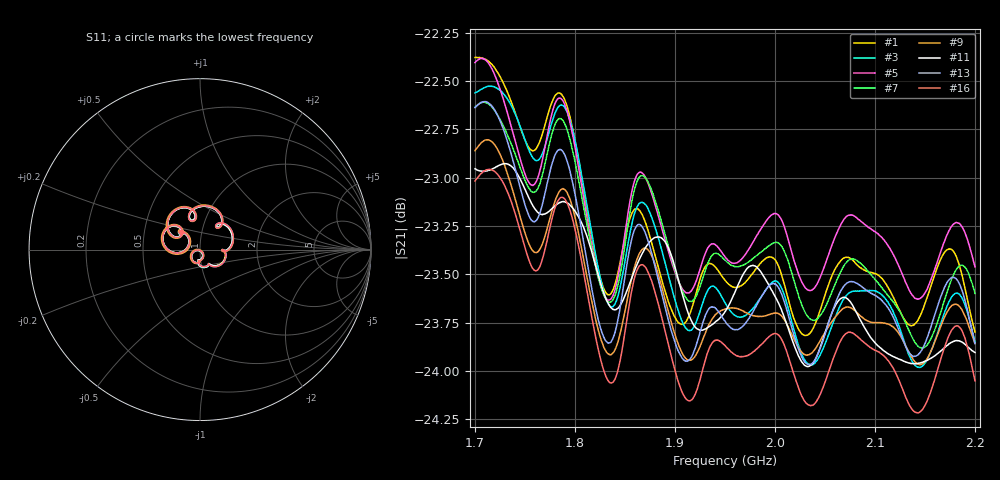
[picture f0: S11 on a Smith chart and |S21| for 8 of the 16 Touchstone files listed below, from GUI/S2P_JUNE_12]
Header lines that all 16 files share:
# Hz S RI R 50
! CMT, CMT808U, 21440046, 21.4.3/4
! Data: Format (Calibration Info)
! Freq	S11:Re/Im(F2)	S41:Re/Im(F2)	S14:Re/Im(F2)	S44:Re/Im(F2)
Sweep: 1.7 GHz to 2.2 GHz
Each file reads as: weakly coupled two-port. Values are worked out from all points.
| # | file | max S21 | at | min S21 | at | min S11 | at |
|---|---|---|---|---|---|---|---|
| 1 | Port1.s2p | -22.38 dB | 1.701 GHz | -23.8 dB | 2.031 GHz | -41.6 dB | 2.178 GHz |
| 2 | Port2.s2p | -22.26 dB | 1.7 GHz | -23.8 dB | 2.142 GHz | -42.3 dB | 2.179 GHz |
| 3 | Port3.s2p | -22.53 dB | 1.715 GHz | -24.0 dB | 2.144 GHz | -43.3 dB | 2.179 GHz |
| 4 | Port4.s2p | -22.52 dB | 1.71 GHz | -23.9 dB | 2.142 GHz | -42.3 dB | 2.179 GHz |
| 5 | Port5.s2p | -22.38 dB | 1.707 GHz | -23.6 dB | 1.833 GHz | -41.9 dB | 2.178 GHz |
| 6 | Port6.s2p | -22.35 dB | 1.708 GHz | -23.7 dB | 2.146 GHz | -42.0 dB | 2.178 GHz |
| 7 | Port7.s2p | -22.61 dB | 1.708 GHz | -23.9 dB | 2.147 GHz | -42.2 dB | 2.178 GHz |
| 8 | Port8.s2p | -22.59 dB | 1.71 GHz | -23.9 dB | 2.146 GHz | -42.1 dB | 2.178 GHz |
| 9 | Port9.s2p | -22.80 dB | 1.713 GHz | -24.0 dB | 2.145 GHz | -57.5 dB | 2.178 GHz |
| 10 | Port10.s2p | -22.85 dB | 1.7 GHz | -24.1 dB | 2.143 GHz | -42.8 dB | 2.178 GHz |
| 11 | Port11.s2p | -22.93 dB | 1.729 GHz | -24.0 dB | 2.033 GHz | -42.9 dB | 2.178 GHz |
| 12 | Port12.s2p | -23.02 dB | 1.7 GHz | -24.0 dB | 2.037 GHz | -45.8 dB | 2.177 GHz |
| 13 | Port13.s2p | -22.61 dB | 1.71 GHz | -24.0 dB | 2.034 GHz | -45.5 dB | 2.177 GHz |
| 14 | Port14.s2p | -22.73 dB | 1.712 GHz | -24.0 dB | 2.142 GHz | -46.7 dB | 2.178 GHz |
| 15 | Port15.s2p | -22.97 dB | 1.716 GHz | -24.3 dB | 2.143 GHz | -47.7 dB | 2.178 GHz |
| 16 | Port16.s2p | -22.96 dB | 1.714 GHz | -24.2 dB | 2.143 GHz | -46.4 dB | 2.177 GHz |
